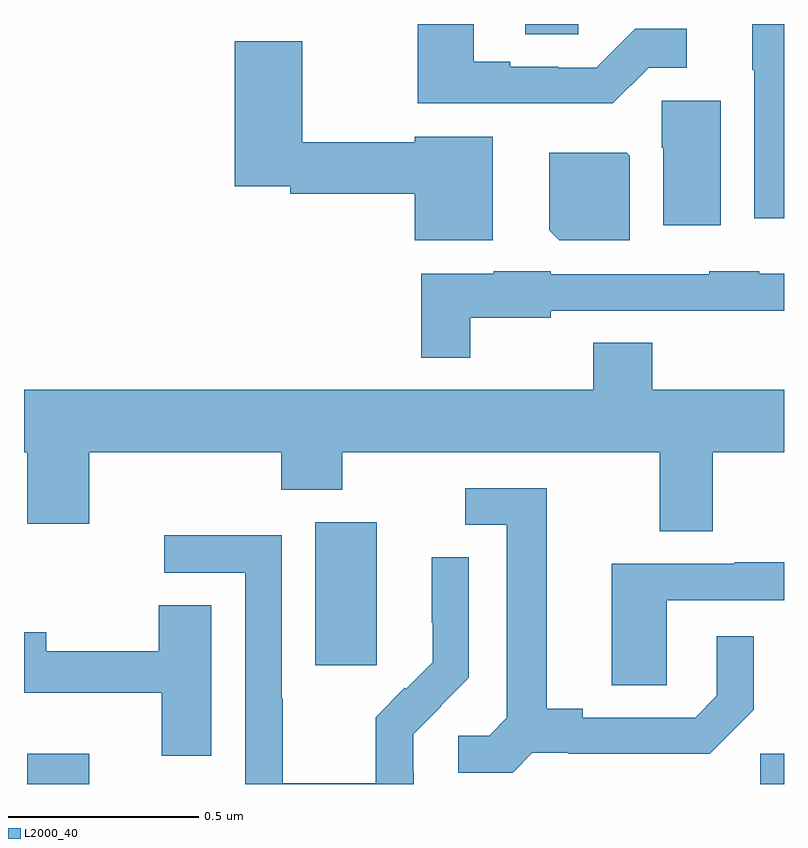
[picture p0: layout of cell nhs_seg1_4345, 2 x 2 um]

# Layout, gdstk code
import gdstk
lib = gdstk.Library(unit=1e-6, precision=1e-09)
def R(c, l, rs):  # rectangles x0, y0, x1, y1
    for r in rs: c.add(gdstk.rectangle(r[:2], r[2:], *l))
def P(c, l, *ps):  # polygons
    for p in ps: c.add(gdstk.Polygon(p, *l))
L2000_40 = (2000, 40)

nhs_seg1_4345 = lib.new_cell('nhs_seg1_4345')
R(nhs_seg1_4345, L2000_40, [(165.008,544.199,165.172,544.279), (166.938,544.199,167,544.278), (165.767,544.512,165.928,544.888), (166.319,546.172,166.458,546.199)])
P(nhs_seg1_4345, L2000_40, [(166.644,546.084),(166.744,546.084),(166.744,546.187),(166.609,546.187),(166.506,546.084),(166.406,546.084),(166.406,546.087),(166.279,546.087),(166.279,546.1),(166.183,546.1),(166.183,546.199),(166.036,546.199),(166.036,545.99),(166.549,545.99)],
  [(167,546.199),(166.916,546.199),(166.916,546.078),(166.922,546.078),(166.922,545.688),(167,545.688)],
  [(166.234,545.902),(166.028,545.902),(166.028,545.888),(165.732,545.888),(165.732,546.154),(165.554,546.154),(165.554,545.772),(165.7,545.772),(165.7,545.752),(166.028,545.752),(166.028,545.63),(166.234,545.63)],
  [(166.834,545.997),(166.678,545.997),(166.678,545.874),(166.682,545.874),(166.682,545.67),(166.834,545.67)],
  [(166.594,545.852),(166.586,545.86),(166.382,545.86),(166.382,545.656),(166.408,545.63),(166.594,545.63)],
  [(166.174,545.426),(166.386,545.426),(166.386,545.445),(166.803,545.445),(166.803,545.444),(167,545.444),(167,545.542),(166.935,545.542),(166.935,545.548),(166.803,545.548),(166.803,545.541),(166.386,545.541),(166.386,545.548),(166.236,545.548),(166.236,545.542),(166.045,545.542),(166.045,545.321),(166.174,545.321)],
  [(165,545.072),(165.008,545.072),(165.008,544.884),(165.172,544.884),(165.172,545.072),(165.677,545.072),(165.677,544.973),(165.837,544.973),(165.837,545.072),(166.673,545.072),(166.673,544.864),(166.813,544.864),(166.813,545.072),(167,545.072),(167,545.236),(166.653,545.236),(166.653,545.36),(166.498,545.36),(166.498,545.236),(165,545.236)],
  [(166.338,544.281),(166.432,544.281),(166.432,544.278),(166.804,544.278),(166.92,544.394),(166.92,544.588),(166.823,544.588),(166.823,544.431),(166.766,544.374),(166.471,544.374),(166.471,544.397),(166.375,544.397),(166.375,544.977),(166.161,544.977),(166.161,544.881),(166.271,544.881),(166.271,544.373),(166.224,544.326),(166.143,544.326),(166.143,544.229),(166.286,544.229)],
  [(166.026,544.233),(166.024,544.233),(166.024,544.33),(166.098,544.404),(166.097,544.405),(166.17,544.478),(166.17,544.796),(166.073,544.796),(166.073,544.624),(166.076,544.624),(166.076,544.52),(166.005,544.449),(166.002,544.452),(165.925,544.375),(165.925,544.201),(165.681,544.201),(165.681,544.424),(165.678,544.424),(165.678,544.854),(165.369,544.854),(165.369,544.755),(165.582,544.755),(165.582,544.199),(166.026,544.199)],
  [(166.692,544.683),(167,544.683),(167,544.783),(166.871,544.783),(166.871,544.779),(166.547,544.779),(166.547,544.459),(166.692,544.459)],
  [(165.493,544.67),(165.355,544.67),(165.355,544.549),(165.058,544.549),(165.058,544.599),(165,544.599),(165,544.439),(165.362,544.439),(165.362,544.273),(165.493,544.273)])

lib.write_gds('nhs_seg1_4345.gds')
